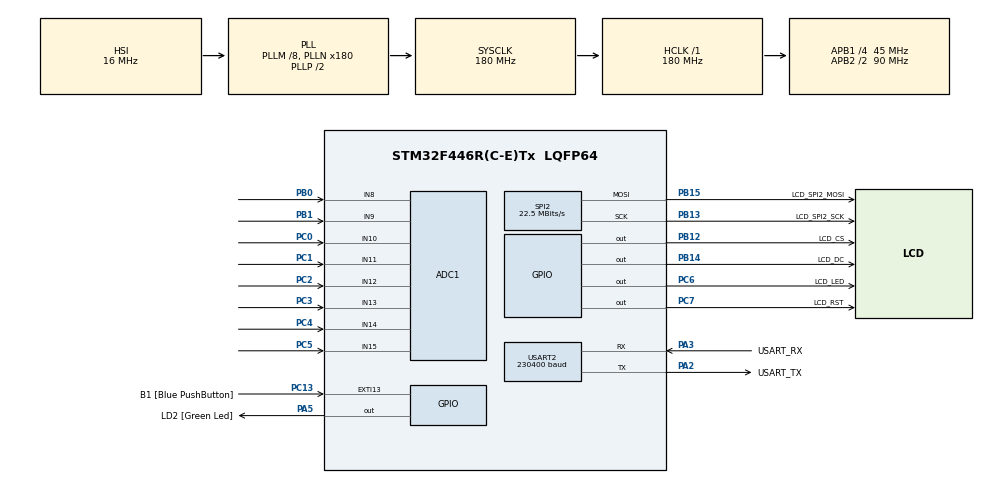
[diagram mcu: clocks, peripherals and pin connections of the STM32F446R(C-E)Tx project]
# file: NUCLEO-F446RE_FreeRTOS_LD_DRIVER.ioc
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ADC1.Channel-10\#ChannelRegularConversion=ADC_CHANNEL_TEMPSENSOR
ADC1.Channel-11\#ChannelRegularConversion=ADC_CHANNEL_VREFINT
ADC1.Channel-2\#ChannelRegularConversion=ADC_CHANNEL_8
ADC1.Channel-3\#ChannelRegularConversion=ADC_CHANNEL_9
ADC1.Channel-4\#ChannelRegularConversion=ADC_CHANNEL_10
ADC1.Channel-5\#ChannelRegularConversion=ADC_CHANNEL_11
ADC1.Channel-6\#ChannelRegularConversion=ADC_CHANNEL_12
ADC1.Channel-7\#ChannelRegularConversion=ADC_CHANNEL_13
ADC1.Channel-8\#ChannelRegularConversion=ADC_CHANNEL_14
ADC1.Channel-9\#ChannelRegularConversion=ADC_CHANNEL_15
ADC1.DMAContinuousRequests=ENABLE
ADC1.DiscontinuousConvMode=ENABLE
ADC1.ExternalTrigConv=ADC_EXTERNALTRIGCONV_T2_TRGO
ADC1.NbrOfConversion=10
ADC1.NbrOfConversionFlag=1
ADC1.Rank-10\#ChannelRegularConversion=9
ADC1.Rank-11\#ChannelRegularConversion=10
ADC1.Rank-2\#ChannelRegularConversion=1
ADC1.Rank-3\#ChannelRegularConversion=2
ADC1.Rank-4\#ChannelRegularConversion=3
ADC1.Rank-5\#ChannelRegularConversion=4
ADC1.Rank-6\#ChannelRegularConversion=5
ADC1.Rank-7\#ChannelRegularConversion=6
ADC1.Rank-8\#ChannelRegularConversion=7
ADC1.Rank-9\#ChannelRegularConversion=8
ADC1.SamplingTime-10\#ChannelRegularConversion=ADC_SAMPLETIME_480CYCLES
ADC1.SamplingTime-11\#ChannelRegularConversion=ADC_SAMPLETIME_480CYCLES
ADC1.SamplingTime-2\#ChannelRegularConversion=ADC_SAMPLETIME_15CYCLES
ADC1.SamplingTime-3\#ChannelRegularConversion=ADC_SAMPLETIME_15CYCLES
ADC1.SamplingTime-4\#ChannelRegularConversion=ADC_SAMPLETIME_15CYCLES
ADC1.SamplingTime-5\#ChannelRegularConversion=ADC_SAMPLETIME_15CYCLES
ADC1.SamplingTime-6\#ChannelRegularConversion=ADC_SAMPLETIME_15CYCLES
ADC1.SamplingTime-7\#ChannelRegularConversion=ADC_SAMPLETIME_15CYCLES
ADC1.SamplingTime-8\#ChannelRegularConversion=ADC_SAMPLETIME_15CYCLES
ADC1.SamplingTime-9\#ChannelRegularConversion=ADC_SAMPLETIME_15CYCLES
ADC1.ScanConvMode=ENABLE
ADC1.master=1
Dma.ADC1.2.Direction=DMA_PERIPH_TO_MEMORY
Dma.ADC1.2.FIFOMode=DMA_FIFOMODE_DISABLE
Dma.ADC1.2.Instance=DMA2_Stream0
Dma.ADC1.2.MemDataAlignment=DMA_MDATAALIGN_HALFWORD
Dma.ADC1.2.MemInc=DMA_MINC_ENABLE
Dma.ADC1.2.Mode=DMA_CIRCULAR
Dma.ADC1.2.PeriphDataAlignment=DMA_PDATAALIGN_HALFWORD
Dma.ADC1.2.PeriphInc=DMA_PINC_DISABLE
Dma.ADC1.2.Priority=DMA_PRIORITY_HIGH
Dma.Request0=USART2_TX
Dma.Request1=SPI2_TX
Dma.Request2=ADC1
Dma.SPI2_TX.1.Direction=DMA_MEMORY_TO_PERIPH
Dma.SPI2_TX.1.FIFOMode=DMA_FIFOMODE_DISABLE
Dma.SPI2_TX.1.Instance=DMA1_Stream4
Dma.SPI2_TX.1.MemDataAlignment=DMA_MDATAALIGN_BYTE
Dma.SPI2_TX.1.MemInc=DMA_MINC_ENABLE
Dma.SPI2_TX.1.Mode=DMA_NORMAL
Dma.SPI2_TX.1.PeriphDataAlignment=DMA_PDATAALIGN_BYTE
Dma.SPI2_TX.1.PeriphInc=DMA_PINC_DISABLE
Dma.SPI2_TX.1.Priority=DMA_PRIORITY_LOW
Dma.USART2_TX.0.Direction=DMA_MEMORY_TO_PERIPH
Dma.USART2_TX.0.FIFOMode=DMA_FIFOMODE_DISABLE
Dma.USART2_TX.0.Instance=DMA1_Stream6
Dma.USART2_TX.0.MemDataAlignment=DMA_MDATAALIGN_BYTE
Dma.USART2_TX.0.MemInc=DMA_MINC_ENABLE
Dma.USART2_TX.0.Mode=DMA_NORMAL
Dma.USART2_TX.0.PeriphDataAlignment=DMA_PDATAALIGN_BYTE
Dma.USART2_TX.0.PeriphInc=DMA_PINC_DISABLE
Dma.USART2_TX.0.Priority=DMA_PRIORITY_LOW
Mcu.Family=STM32F4
Mcu.Name=STM32F446R(C-E)Tx
Mcu.Package=LQFP64
NVIC.DMA1_Stream4_IRQn=true\:0\:0\:false\:false\:true\:false\:false\:true\:true
NVIC.DMA1_Stream6_IRQn=true\:0\:0\:false\:false\:true\:false\:false\:true\:true
NVIC.DMA2_Stream0_IRQn=true\:0\:0\:false\:false\:true\:false\:false\:true\:true
NVIC.PriorityGroup=NVIC_PRIORITYGROUP_4
NVIC.SPI2_IRQn=true\:0\:0\:false\:false\:true\:false\:true\:true\:true
NVIC.TIM6_DAC_IRQn=true\:15\:0\:false\:false\:true\:false\:false\:true\:true
NVIC.TimeBase=TIM6_DAC_IRQn
NVIC.TimeBaseIP=TIM6
NVIC.USART2_IRQn=true\:0\:0\:false\:false\:true\:false\:true\:true\:true
PA13.GPIO_Label=TMS
PA13.Mode=Serial_Wire
PA13.Signal=SYS_JTMS-SWDIO
PA14.GPIO_Label=TCK
PA14.Mode=Serial_Wire
PA14.Signal=SYS_JTCK-SWCLK
PA2.GPIO_Label=USART_TX
PA2.Mode=Asynchronous
PA2.Signal=USART2_TX
PA3.GPIO_Label=USART_RX
PA3.Mode=Asynchronous
PA3.Signal=USART2_RX
PA5.GPIO_Label=LD2 [Green Led]
PA5.Signal=GPIO_Output
PB0.Signal=ADCx_IN8
PB1.Signal=ADCx_IN9
PB12.GPIO_Label=LCD_CS
PB12.GPIO_Speed=GPIO_SPEED_FREQ_VERY_HIGH
PB12.PinState=GPIO_PIN_SET
PB12.Signal=GPIO_Output
PB13.GPIO_Label=LCD_SPI2_SCK
PB13.Mode=TX_Only_Simplex_Unidirect_Master
PB13.Signal=SPI2_SCK
PB14.GPIO_Label=LCD_DC
PB14.GPIO_Speed=GPIO_SPEED_FREQ_VERY_HIGH
PB14.Signal=GPIO_Output
PB15.GPIO_Label=LCD_SPI2_MOSI
PB15.Mode=TX_Only_Simplex_Unidirect_Master
PB15.Signal=SPI2_MOSI
PB3.GPIO_Label=SWO
PB3.Signal=SYS_JTDO-SWO
PC0.Signal=ADCx_IN10
PC1.Signal=ADCx_IN11
PC13.GPIO_Label=B1 [Blue PushButton]
PC13.GPIO_ModeDefaultEXTI=GPIO_MODE_IT_FALLING
PC13.Signal=GPXTI13
PC14-OSC32_IN.Mode=LSE-External-Oscillator
PC14-OSC32_IN.Signal=RCC_OSC32_IN
PC15-OSC32_OUT.Mode=LSE-External-Oscillator
PC15-OSC32_OUT.Signal=RCC_OSC32_OUT
PC2.Signal=ADCx_IN12
PC3.Signal=ADCx_IN13
PC4.Signal=ADCx_IN14
PC5.Signal=ADCx_IN15
PC6.GPIO_Label=LCD_LED
PC6.Signal=GPIO_Output
PC7.GPIO_Label=LCD_RST
PC7.PinState=GPIO_PIN_SET
PC7.Signal=GPIO_Output
PH0-OSC_IN.Mode=HSE-External-Oscillator
PH0-OSC_IN.Signal=RCC_OSC_IN
PH1-OSC_OUT.Mode=HSE-External-Oscillator
PH1-OSC_OUT.Signal=RCC_OSC_OUT
ProjectManager.HeapSize=0x200
ProjectManager.StackSize=0x800
ProjectManager.TargetToolchain=CMake
RCC.48MHZClocksFreq_Value=84000000
RCC.AHBFreq_Value=180000000
RCC.APB1CLKDivider=RCC_HCLK_DIV4
RCC.APB1Freq_Value=45000000
RCC.APB1TimFreq_Value=90000000
RCC.APB2CLKDivider=RCC_HCLK_DIV2
RCC.APB2Freq_Value=90000000
RCC.APB2TimFreq_Value=180000000
RCC.CortexFreq_Value=180000000
RCC.FLatency-AdvancedSettings=FLASH_LATENCY_5
RCC.HCLKFreq_Value=180000000
RCC.HSE_VALUE=8000000
RCC.HSI_VALUE=16000000
RCC.PLLM=8
RCC.PLLN=180
RCC.SYSCLKFreq_VALUE=180000000
RCC.SYSCLKSource=RCC_SYSCLKSOURCE_PLLCLK
RCC.USBFreq_Value=180000000
RCC.VCOOutputFreq_Value=360000000
SH.ADCx_IN10.0=ADC1_IN10,IN10
SH.ADCx_IN11.0=ADC1_IN11,IN11
SH.ADCx_IN12.0=ADC1_IN12,IN12
SH.ADCx_IN13.0=ADC1_IN13,IN13
SH.ADCx_IN14.0=ADC1_IN14,IN14
SH.ADCx_IN15.0=ADC1_IN15,IN15
SH.ADCx_IN8.0=ADC1_IN8,IN8
SH.ADCx_IN9.0=ADC1_IN9,IN9
SPI2.BaudRatePrescaler=SPI_BAUDRATEPRESCALER_2
SPI2.CalculateBaudRate=22.5 MBits/s
SPI2.Direction=SPI_DIRECTION_2LINES
SPI2.Mode=SPI_MODE_MASTER
SPI2.VirtualType=VM_MASTER
STMicroelectronics.X-CUBE-AZRTOS-F4.1.1.0.TX_TIMER_TICKS_PER_SECOND=1000
STMicroelectronics.X-CUBE-AZRTOS-F4.1.1.0.ThreadXCcRTOSJjThreadXJjCore=true
STMicroelectronics.X-CUBE-AZRTOS-F4.1.1.0.ThreadXCcRTOSJjThreadXJjLowOoPowerOosupport=true
STMicroelectronics.X-CUBE-AZRTOS-F4.1.1.0.ThreadXCcRTOSJjThreadXJjPerformanceInfo=true
STMicroelectronics.X-CUBE-AZRTOS-F4.1.1.0.ThreadXCcRTOSJjThreadXJjTraceXOosupport=true
STMicroelectronics.X-CUBE-AZRTOS-F4.1.1.0_IsAnAzureRtosMw=true
TIM2.Period=9000-1
TIM2.TIM_MasterOutputTrigger=TIM_TRGO_UPDATE
USART2.BaudRate=230400
USART2.VirtualMode=VM_ASYNC
VP_ADC1_TempSens_Input.Mode=IN-TempSens
VP_ADC1_Vref_Input.Mode=IN-Vrefint
VP_STMicroelectronics.X-CUBE-AZRTOS-F4_VS_RTOSJjThreadX_6.1.10_1.1.0.Mode=RTOSJjThreadX
VP_SYS_VS_tim6.Mode=TIM6
VP_TIM2_VS_ClockSourceINT.Mode=Internal
board=NUCLEO-F446RE

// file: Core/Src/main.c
/* USER CODE BEGIN Header */
/**
  ******************************************************************************
  * @file           : main.c
  * @brief          : Main program body
  ******************************************************************************
  * @attention
  *
  * Copyright (c) 2026 STMicroelectronics.
  * All rights reserved.
  *
  * This software is licensed under terms that can be found in the LICENSE file
  * in the root directory of this software component.
  * If no LICENSE file comes with this software, it is provided AS-IS.
  *
  ******************************************************************************
  */
/* USER CODE END Header */
#include "app_threadx.h"
#include "main.h"

/* USER CODE BEGIN Includes */
#include "tx_api.h"
#include "c_debug.h"
#include "c_lcd_ili9341.h"
#include "c_adc.h"
#include <stdio.h>
/* USER CODE END Includes */

ADC_HandleTypeDef hadc1;
DMA_HandleTypeDef hdma_adc1;

SPI_HandleTypeDef hspi2;
DMA_HandleTypeDef hdma_spi2_tx;

TIM_HandleTypeDef htim2;

UART_HandleTypeDef huart2;
DMA_HandleTypeDef hdma_usart2_tx;

/* USER CODE BEGIN PV */
/** @brief MainTask TCB (LCD 표시 루프) */
TX_THREAD MainTaskHandle;
/** @brief TestTask2 TCB (ADC printf) */
TX_THREAD TestTask2Handle;
/* USER CODE END PV */

void SystemClock_Config(void);
static void MX_GPIO_Init(void);
static void MX_DMA_Init(void);
static void MX_USART2_UART_Init(void);
static void MX_SPI2_Init(void);
static void MX_ADC1_Init(void);
static void MX_TIM2_Init(void);
/* USER CODE BEGIN PFP */
void TestTask2Entry(ULONG argument);
void StartDefaultTask(ULONG argument);
/* USER CODE END PFP */

int main(void)
{

  /* MCU Configuration--------------------------------------------------------*/

  /* Reset of all peripherals, Initializes the Flash interface and the Systick. */
  HAL_Init();

  /* Configure the system clock */
  SystemClock_Config();

  /* USER CODE BEGIN SysInit */
  /* TraceX 타임스탬프용 DWT 사이클 카운터 활성화 */
  CoreDebug->DEMCR |= CoreDebug_DEMCR_TRCENA_Msk;
  DWT->CYCCNT = 0U;
  DWT->CTRL   |= DWT_CTRL_CYCCNTENA_Msk;
  /* USER CODE END SysInit */

  /* Initialize all configured peripherals */
  MX_GPIO_Init();
  MX_DMA_Init();
  MX_USART2_UART_Init();
  MX_SPI2_Init();
  MX_ADC1_Init();
  MX_TIM2_Init();
  /* USER CODE BEGIN 2 */
  Debug_Init();
  /* USER CODE END 2 */

  MX_ThreadX_Init();

  /* We should never get here as control is now taken by the scheduler */

  /* Infinite loop */
  while (1)
  {

  }
}

void SystemClock_Config(void)
{
  RCC_OscInitTypeDef RCC_OscInitStruct = {0};
  RCC_ClkInitTypeDef RCC_ClkInitStruct = {0};

  /** Configure the main internal regulator output voltage
  */
  __HAL_RCC_PWR_CLK_ENABLE();
  __HAL_PWR_VOLTAGESCALING_CONFIG(PWR_REGULATOR_VOLTAGE_SCALE1);

  /** Initializes the RCC Oscillators according to the specified parameters
  * in the RCC_OscInitTypeDef structure.
  */
  RCC_OscInitStruct.OscillatorType = RCC_OSCILLATORTYPE_HSI;
  RCC_OscInitStruct.HSIState = RCC_HSI_ON;
  RCC_OscInitStruct.HSICalibrationValue = RCC_HSICALIBRATION_DEFAULT;
  RCC_OscInitStruct.PLL.PLLState = RCC_PLL_ON;
  RCC_OscInitStruct.PLL.PLLSource = RCC_PLLSOURCE_HSI;
  RCC_OscInitStruct.PLL.PLLM = 8;
  RCC_OscInitStruct.PLL.PLLN = 180;
  RCC_OscInitStruct.PLL.PLLP = RCC_PLLP_DIV2;
  RCC_OscInitStruct.PLL.PLLQ = 2;
  RCC_OscInitStruct.PLL.PLLR = 2;
  if (HAL_RCC_OscConfig(&RCC_OscInitStruct) != HAL_OK)
  {
    Error_Handler();
  }

  /** Activate the Over-Drive mode
  */
  if (HAL_PWREx_EnableOverDrive() != HAL_OK)
  {
    Error_Handler();
  }

  /** Initializes the CPU, AHB and APB buses clocks
  */
  RCC_ClkInitStruct.ClockType = RCC_CLOCKTYPE_HCLK|RCC_CLOCKTYPE_SYSCLK
                              |RCC_CLOCKTYPE_PCLK1|RCC_CLOCKTYPE_PCLK2;
  RCC_ClkInitStruct.SYSCLKSource = RCC_SYSCLKSOURCE_PLLCLK;
  RCC_ClkInitStruct.AHBCLKDivider = RCC_SYSCLK_DIV1;
  RCC_ClkInitStruct.APB1CLKDivider = RCC_HCLK_DIV4;
  RCC_ClkInitStruct.APB2CLKDivider = RCC_HCLK_DIV2;

  if (HAL_RCC_ClockConfig(&RCC_ClkInitStruct, FLASH_LATENCY_5) != HAL_OK)
  {
    Error_Handler();
  }
}

static void MX_ADC1_Init(void)
{

  ADC_ChannelConfTypeDef sConfig = {0};

  /** Configure the global features of the ADC (Clock, Resolution, Data Alignment and number of conversion)
  */
  hadc1.Instance = ADC1;
  hadc1.Init.ClockPrescaler = ADC_CLOCK_SYNC_PCLK_DIV4;
  hadc1.Init.Resolution = ADC_RESOLUTION_12B;
  hadc1.Init.ScanConvMode = ENABLE;
  hadc1.Init.ContinuousConvMode = DISABLE;
  hadc1.Init.DiscontinuousConvMode = ENABLE;
  hadc1.Init.NbrOfDiscConversion = 1;
  hadc1.Init.ExternalTrigConvEdge = ADC_EXTERNALTRIGCONVEDGE_RISING;
  hadc1.Init.ExternalTrigConv = ADC_EXTERNALTRIGCONV_T2_TRGO;
  hadc1.Init.DataAlign = ADC_DATAALIGN_RIGHT;
  hadc1.Init.NbrOfConversion = 10;
  hadc1.Init.DMAContinuousRequests = ENABLE;
  hadc1.Init.EOCSelection = ADC_EOC_SINGLE_CONV;
  if (HAL_ADC_Init(&hadc1) != HAL_OK)
  {
    Error_Handler();
  }

  /** Configure for the selected ADC regular channel its corresponding rank in the sequencer and its sample time.
  */
  sConfig.Channel = ADC_CHANNEL_8;
  sConfig.Rank = 1;
  sConfig.SamplingTime = ADC_SAMPLETIME_15CYCLES;
  if (HAL_ADC_ConfigChannel(&hadc1, &sConfig) != HAL_OK)
  {
    Error_Handler();
  }

  /** Configure for the selected ADC regular channel its corresponding rank in the sequencer and its sample time.
  */
  sConfig.Channel = ADC_CHANNEL_9;
  sConfig.Rank = 2;
  if (HAL_ADC_ConfigChannel(&hadc1, &sConfig) != HAL_OK)
  {
    Error_Handler();
  }

  /** Configure for the selected ADC regular channel its corresponding rank in the sequencer and its sample time.
  */
  sConfig.Channel = ADC_CHANNEL_10;
  sConfig.Rank = 3;
  if (HAL_ADC_ConfigChannel(&hadc1, &sConfig) != HAL_OK)
  {
    Error_Handler();
  }

  /** Configure for the selected ADC regular channel its corresponding rank in the sequencer and its sample time.
  */
  sConfig.Channel = ADC_CHANNEL_11;
  sConfig.Rank = 4;
  if (HAL_ADC_ConfigChannel(&hadc1, &sConfig) != HAL_OK)
  {
    Error_Handler();
  }

  /** Configure for the selected ADC regular channel its corresponding rank in the sequencer and its sample time.
  */
  sConfig.Channel = ADC_CHANNEL_12;
  sConfig.Rank = 5;
  if (HAL_ADC_ConfigChannel(&hadc1, &sConfig) != HAL_OK)
  {
    Error_Handler();
  }

  /** Configure for the selected ADC regular channel its corresponding rank in the sequencer and its sample time.
  */
  sConfig.Channel = ADC_CHANNEL_13;
  sConfig.Rank = 6;
  if (HAL_ADC_ConfigChannel(&hadc1, &sConfig) != HAL_OK)
  {
    Error_Handler();
  }

  /** Configure for the selected ADC regular channel its corresponding rank in the sequencer and its sample time.
  */
  sConfig.Channel = ADC_CHANNEL_14;
  sConfig.Rank = 7;
  if (HAL_ADC_ConfigChannel(&hadc1, &sConfig) != HAL_OK)
  {
    Error_Handler();
  }

  /** Configure for the selected ADC regular channel its corresponding rank in the sequencer and its sample time.
  */
  sConfig.Channel = ADC_CHANNEL_15;
  sConfig.Rank = 8;
  if (HAL_ADC_ConfigChannel(&hadc1, &sConfig) != HAL_OK)
  {
    Error_Handler();
  }

  /** Configure for the selected ADC regular channel its corresponding rank in the sequencer and its sample time.
  */
  sConfig.Channel = ADC_CHANNEL_TEMPSENSOR;
  sConfig.Rank = 9;
  sConfig.SamplingTime = ADC_SAMPLETIME_480CYCLES;
  if (HAL_ADC_ConfigChannel(&hadc1, &sConfig) != HAL_OK)
  {
    Error_Handler();
  }

  /** Configure for the selected ADC regular channel its corresponding rank in the sequencer and its sample time.
  */
  sConfig.Channel = ADC_CHANNEL_VREFINT;
  sConfig.Rank = 10;
  if (HAL_ADC_ConfigChannel(&hadc1, &sConfig) != HAL_OK)
  {
    Error_Handler();
  }

}

static void MX_SPI2_Init(void)
{

  /* SPI2 parameter configuration*/
  hspi2.Instance = SPI2;
  hspi2.Init.Mode = SPI_MODE_MASTER;
  hspi2.Init.Direction = SPI_DIRECTION_2LINES;
  hspi2.Init.DataSize = SPI_DATASIZE_8BIT;
  hspi2.Init.CLKPolarity = SPI_POLARITY_LOW;
  hspi2.Init.CLKPhase = SPI_PHASE_1EDGE;
  hspi2.Init.NSS = SPI_NSS_SOFT;
  hspi2.Init.BaudRatePrescaler = SPI_BAUDRATEPRESCALER_2;
  hspi2.Init.FirstBit = SPI_FIRSTBIT_MSB;
  hspi2.Init.TIMode = SPI_TIMODE_DISABLE;
  hspi2.Init.CRCCalculation = SPI_CRCCALCULATION_DISABLE;
  hspi2.Init.CRCPolynomial = 10;
  if (HAL_SPI_Init(&hspi2) != HAL_OK)
  {
    Error_Handler();
  }

}

static void MX_TIM2_Init(void)
{

  TIM_ClockConfigTypeDef sClockSourceConfig = {0};
  TIM_MasterConfigTypeDef sMasterConfig = {0};

  htim2.Instance = TIM2;
  htim2.Init.Prescaler = 0;
  htim2.Init.CounterMode = TIM_COUNTERMODE_UP;
  htim2.Init.Period = 9000-1;
  htim2.Init.ClockDivision = TIM_CLOCKDIVISION_DIV1;
  htim2.Init.AutoReloadPreload = TIM_AUTORELOAD_PRELOAD_DISABLE;
  if (HAL_TIM_Base_Init(&htim2) != HAL_OK)
  {
    Error_Handler();
  }
  sClockSourceConfig.ClockSource = TIM_CLOCKSOURCE_INTERNAL;
  if (HAL_TIM_ConfigClockSource(&htim2, &sClockSourceConfig) != HAL_OK)
  {
    Error_Handler();
  }
  sMasterConfig.MasterOutputTrigger = TIM_TRGO_UPDATE;
  sMasterConfig.MasterSlaveMode = TIM_MASTERSLAVEMODE_DISABLE;
  if (HAL_TIMEx_MasterConfigSynchronization(&htim2, &sMasterConfig) != HAL_OK)
  {
    Error_Handler();
  }

}

static void MX_USART2_UART_Init(void)
{

  huart2.Instance = USART2;
  huart2.Init.BaudRate = 230400;
  huart2.Init.WordLength = UART_WORDLENGTH_8B;
  huart2.Init.StopBits = UART_STOPBITS_1;
  huart2.Init.Parity = UART_PARITY_NONE;
  huart2.Init.Mode = UART_MODE_TX_RX;
  huart2.Init.HwFlowCtl = UART_HWCONTROL_NONE;
  huart2.Init.OverSampling = UART_OVERSAMPLING_16;
  if (HAL_UART_Init(&huart2) != HAL_OK)
  {
    Error_Handler();
  }

}

static void MX_DMA_Init(void)
{

  /* DMA controller clock enable */
  __HAL_RCC_DMA1_CLK_ENABLE();
  __HAL_RCC_DMA2_CLK_ENABLE();

  /* DMA interrupt init */
  /* DMA1_Stream4_IRQn interrupt configuration */
  HAL_NVIC_SetPriority(DMA1_Stream4_IRQn, 0, 0);
  HAL_NVIC_EnableIRQ(DMA1_Stream4_IRQn);
  /* DMA1_Stream6_IRQn interrupt configuration */
  HAL_NVIC_SetPriority(DMA1_Stream6_IRQn, 0, 0);
  HAL_NVIC_EnableIRQ(DMA1_Stream6_IRQn);
  /* DMA2_Stream0_IRQn interrupt configuration */
  HAL_NVIC_SetPriority(DMA2_Stream0_IRQn, 0, 0);
  HAL_NVIC_EnableIRQ(DMA2_Stream0_IRQn);

}

static void MX_GPIO_Init(void)
{
  GPIO_InitTypeDef GPIO_InitStruct = {0};

  /* GPIO Ports Clock Enable */
  __HAL_RCC_GPIOC_CLK_ENABLE();
  __HAL_RCC_GPIOH_CLK_ENABLE();
  __HAL_RCC_GPIOA_CLK_ENABLE();
  __HAL_RCC_GPIOB_CLK_ENABLE();

  /*Configure GPIO pin Output Level */
  HAL_GPIO_WritePin(LD2_GPIO_Port, LD2_Pin, GPIO_PIN_RESET);

  /*Configure GPIO pin Output Level */
  HAL_GPIO_WritePin(LCD_CS_GPIO_Port, LCD_CS_Pin, GPIO_PIN_SET);

  /*Configure GPIO pin Output Level */
  HAL_GPIO_WritePin(LCD_DC_GPIO_Port, LCD_DC_Pin, GPIO_PIN_RESET);

  /*Configure GPIO pin Output Level */
  HAL_GPIO_WritePin(LCD_LED_GPIO_Port, LCD_LED_Pin, GPIO_PIN_RESET);

  /*Configure GPIO pin Output Level */
  HAL_GPIO_WritePin(LCD_RST_GPIO_Port, LCD_RST_Pin, GPIO_PIN_SET);

  /*Configure GPIO pin : B1_Pin */
  GPIO_InitStruct.Pin = B1_Pin;
  GPIO_InitStruct.Mode = GPIO_MODE_IT_FALLING;
  GPIO_InitStruct.Pull = GPIO_NOPULL;
  HAL_GPIO_Init(B1_GPIO_Port, &GPIO_InitStruct);

  /*Configure GPIO pin : LD2_Pin */
  GPIO_InitStruct.Pin = LD2_Pin;
  GPIO_InitStruct.Mode = GPIO_MODE_OUTPUT_PP;
  GPIO_InitStruct.Pull = GPIO_NOPULL;
  GPIO_InitStruct.Speed = GPIO_SPEED_FREQ_LOW;
  HAL_GPIO_Init(LD2_GPIO_Port, &GPIO_InitStruct);

  /*Configure GPIO pins : LCD_CS_Pin LCD_DC_Pin */
  GPIO_InitStruct.Pin = LCD_CS_Pin|LCD_DC_Pin;
  GPIO_InitStruct.Mode = GPIO_MODE_OUTPUT_PP;
  GPIO_InitStruct.Pull = GPIO_NOPULL;
  GPIO_InitStruct.Speed = GPIO_SPEED_FREQ_VERY_HIGH;
  HAL_GPIO_Init(GPIOB, &GPIO_InitStruct);

  /*Configure GPIO pins : LCD_LED_Pin LCD_RST_Pin */
  GPIO_InitStruct.Pin = LCD_LED_Pin|LCD_RST_Pin;
  GPIO_InitStruct.Mode = GPIO_MODE_OUTPUT_PP;
  GPIO_InitStruct.Pull = GPIO_NOPULL;
  GPIO_InitStruct.Speed = GPIO_SPEED_FREQ_LOW;
  HAL_GPIO_Init(GPIOC, &GPIO_InitStruct);

}

/* USER CODE BEGIN 4 */

/** @brief UART DMA 전송 완료 콜백 */
void HAL_UART_TxCpltCallback(UART_HandleTypeDef *huart)
{
    if (huart == &DEBUG_UART_INSTANCE) {
        Debug_TxCpltHandler();
    }
}

/** @brief SPI DMA 전송 완료 콜백 */
void HAL_SPI_TxCpltCallback(SPI_HandleTypeDef *hspi)
{
    if (hspi == &LCD_SPI_INSTANCE) {
        LCD_DmaCpltHandler();
    }
}

/** @brief ADC DMA Half-Transfer 완료 콜백 */
void HAL_ADC_ConvHalfCpltCallback(ADC_HandleTypeDef *hadc)
{
    if (hadc == &ADC_INSTANCE) {
        ADC_HalfCpltHandler();
    }
}

/** @brief ADC DMA Transfer-Complete 완료 콜백 */
void HAL_ADC_ConvCpltCallback(ADC_HandleTypeDef *hadc)
{
    if (hadc == &ADC_INSTANCE) {
        ADC_CpltHandler();
    }
}

/** @brief 두 번째 테스트 태스크 — 1s 주기로 ADC 10채널 전체 printf 출력 */
void TestTask2Entry(ULONG argument)
{
    (void)argument;
    for (;;) {
            uint32_t vrc = (uint32_t)(*VREFINT_CAL_ADDR);
        uint32_t vdda = (vrc > 0u) ? (3300u * vrc / (uint32_t)g_adcResult[9]) : 3300u;
        int32_t tc1 = (int32_t)(*TEMPSENSOR_CAL1_ADDR);
        int32_t tc2 = (int32_t)(*TEMPSENSOR_CAL2_ADDR);
        int32_t traw = (int32_t)(uint32_t)g_adcResult[8];
        int32_t tcorr = (int32_t)(traw * vdda / 3300u);
        int32_t temp = ((tcorr - tc1) * (110 - 30) / (tc2 - tc1)) + 30;
        // printf("ADC CH8=%4u CH9=%4u CH10=%4u CH11=%4u CH12=%4u"
        //        " CH13=%4u CH14=%4u CH15=%4u Tmp=%ldC Vdda=%lumV\r\n",
        //        (unsigned)g_adcResult[0], (unsigned)g_adcResult[1],
        //        (unsigned)g_adcResult[2], (unsigned)g_adcResult[3],
        //        (unsigned)g_adcResult[4], (unsigned)g_adcResult[5],
        //        (unsigned)g_adcResult[6], (unsigned)g_adcResult[7],
        //        (long)temp, (unsigned long)vdda);
        tx_thread_sleep(1000);
    }
}

/**
  * @brief  Function implementing the MainTask thread.
  * @param  argument: Not used
  * @retval None
  */
void StartDefaultTask(ULONG argument)
{
  /* USER CODE BEGIN 5 */
  (void)argument;

  /* LCD 초기화 (Display 태스크 생성 → 내부에서 HW 초기화 진행) */
  LCD_Init();

  /* Display 태스크의 HW 초기화 완료 대기 (RST + RegInit + SleepOut ≈ 270ms) */
  tx_thread_sleep(300);

  LCD_FillScreen(LCD_BLACK);

  /* 타이틀 출력 (16×24 폰트) */
  LCD_SetFont(&Font_16x24);
  LCD_DrawString(4, 4, "ADC 10ch  1kHz", LCD_CYAN, LCD_BLACK);

  /* ADC 채널 레이블 고정 출력 (8×16 폰트) */
  LCD_SetFont(&Font_8x16);
  LCD_DrawString(4, 34, "CH8 :      CH9 :    ", LCD_WHITE, LCD_BLACK);
  LCD_DrawString(4, 50, "CH10:      CH11:    ", LCD_WHITE, LCD_BLACK);
  LCD_DrawString(4, 66, "CH12:      CH13:    ", LCD_WHITE, LCD_BLACK);
  LCD_DrawString(4, 82, "CH14:      CH15:    ", LCD_WHITE, LCD_BLACK);
  LCD_DrawString(4, 98, "Tmp:       Vref:    ", LCD_YELLOW, LCD_BLACK);

  /* ADC 값 갱신 루프 — 500ms 주기 */
  char buf[44];
  for (;;) {
      snprintf(buf, sizeof(buf), "CH8 :%4u  CH9 :%4u",
               (unsigned)g_adcResult[0], (unsigned)g_adcResult[1]);
      LCD_DrawString(4, 34, buf, LCD_WHITE, LCD_BLACK);

      snprintf(buf, sizeof(buf), "CH10:%4u  CH11:%4u",
               (unsigned)g_adcResult[2], (unsigned)g_adcResult[3]);
      LCD_DrawString(4, 50, buf, LCD_WHITE, LCD_BLACK);

      snprintf(buf, sizeof(buf), "CH12:%4u  CH13:%4u",
               (unsigned)g_adcResult[4], (unsigned)g_adcResult[5]);
      LCD_DrawString(4, 66, buf, LCD_WHITE, LCD_BLACK);

      snprintf(buf, sizeof(buf), "CH14:%4u  CH15:%4u",
               (unsigned)g_adcResult[6], (unsigned)g_adcResult[7]);
      LCD_DrawString(4, 82, buf, LCD_WHITE, LCD_BLACK);

      uint32_t vrefint_cal = (uint32_t)(*VREFINT_CAL_ADDR);
      uint32_t vdda_mv = (vrefint_cal > 0u)
                         ? (3300u * vrefint_cal / (uint32_t)g_adcResult[9])
                         : 3300u;

      int32_t ts_cal1  = (int32_t)(*TEMPSENSOR_CAL1_ADDR);
      int32_t ts_cal2  = (int32_t)(*TEMPSENSOR_CAL2_ADDR);
      int32_t ts_raw   = (int32_t)(uint32_t)g_adcResult[8];
      int32_t ts_corr  = (int32_t)(ts_raw * vdda_mv / 3300u);
      int32_t temp_c   = ((ts_corr - ts_cal1) * (110 - 30)
                         / (ts_cal2 - ts_cal1)) + 30;

      uint32_t vdda_int  = vdda_mv / 1000u;
      uint32_t vdda_frac = (vdda_mv % 1000u) / 10u;
      snprintf(buf, sizeof(buf), "Tmp:%3ldC  Vref:%u.%02uV",
               (long)temp_c, (unsigned)vdda_int, (unsigned)vdda_frac);
      LCD_DrawString(4, 98, buf, LCD_YELLOW, LCD_BLACK);

      tx_thread_sleep(500);
  }
  /* USER CODE END 5 */
}

/* USER CODE END 4 */

void HAL_TIM_PeriodElapsedCallback(TIM_HandleTypeDef *htim)
{
  if (htim->Instance == TIM6)
  {
    HAL_IncTick();
  }
}

void Error_Handler(void)
{
  __disable_irq();
  while (1)
  {
  }
}
